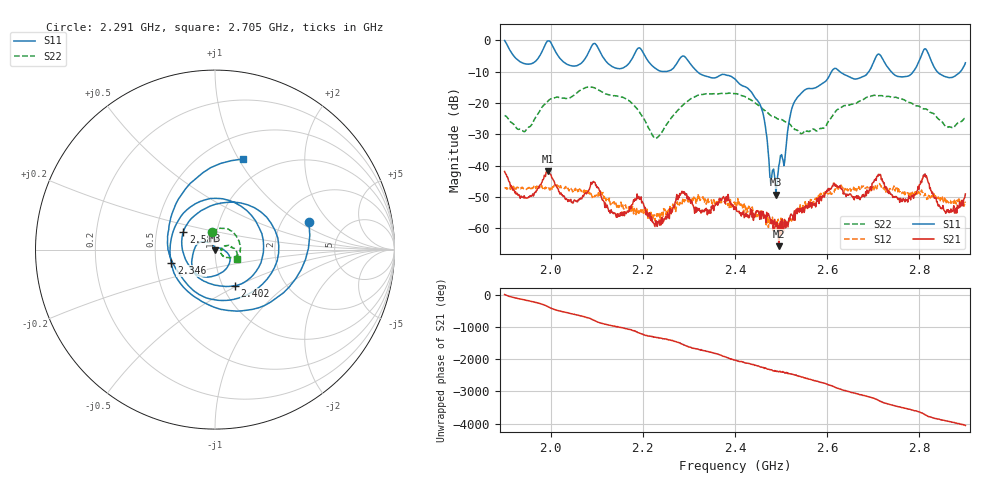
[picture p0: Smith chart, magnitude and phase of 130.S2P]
! C:\Users\rflab\Downloads\Lab5_KD_ZW\130.S2P
! Touchstone 1.1 file saved by VNA.EXE V1.65 (www.ke5fx.com/gpib/readme.htm)
! 11/12/2024 12:12:04 AM
!  Source: HEWLETT PACKARD,8753D,0,6.14
!  Min freq: 1.900000E+009 Hz
!  Max freq: 2.900000E+009 Hz
!  Points: 801
!  Params: S11 S21 S12 S22
# GHZ S RI R 50
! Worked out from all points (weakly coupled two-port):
!   801 points, 1.9 GHz to 2.9 GHz, reference 50 ohm
!   highest |S21| = -41.76 dB at 1.994 GHz (marker M1); lowest = -65.7 dB at 2.495 GHz (marker M2)
!   lowest |S11| = -49.2 dB at 2.489 GHz (marker M3), VSWR 1.01, Z = 49.9 - j0.337 ohm
!   |S11| at or under -10 dB: 2.318 GHz to 2.61 GHz (291.3 MHz wide, 11.8 % of centre); 2.627 GHz to 2.69 GHz (63.26 MHz wide, 2.38 % of centre); 2.839 GHz to 2.889 GHz (50.63 MHz wide, 1.77 % of centre) (the widest 3 of 6)
!   |S22| runs from -31.3 to -14.9 dB; largest |S21 - S12| = 0.0042
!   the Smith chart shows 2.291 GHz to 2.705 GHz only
!   S11 on the Smith chart (normalised r, x): 2.291 GHz: 2.81, +1.21; 2.346 GHz: 0.60, -0.10; 2.402 GHz: 1.14, -0.48; 2.589 GHz: 0.69, +0.14; 2.705 GHz: 0.75, +1.05
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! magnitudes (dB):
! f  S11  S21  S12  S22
! 1.9 GHz  -0.1  -41.8  -47.1  -24.0
! 1.949 GHz  -7.6  -50.3  -47.4  -28.2
! 1.994 GHz  -0.2  -41.8  -47.1  -19.4
! 2.067 GHz  -7.2  -50.6  -48.1  -15.7
! 2.092 GHz  -1.1  -45.0  -50.0  -15.1
! 2.145 GHz  -9.0  -56.4  -52.4  -17.8
! 2.192 GHz  -2.4  -50.7  -54.3  -22.9
! 2.234 GHz  -9.6  -58.1  -55.4  -30.7
! 2.291 GHz  -5.3  -49.3  -50.9  -20.1
! 2.346 GHz  -11.9  -54.9  -51.4  -17.1
! 2.4 GHz  -12.4  -53.2  -52.3  -17.0
! 2.402 GHz  -12.8  -53.2  -52.8  -17.0
! 2.455 GHz  -20.7  -54.5  -55.5  -21.2
! 2.489 GHz  -49.2  -59.4  -59.3  -24.7
! 2.495 GHz  -40.0  -65.7  -58.5  -25.2
! 2.527 GHz  -20.1  -55.9  -57.5  -28.3
! 2.567 GHz  -15.4  -51.9  -51.1  -28.4
! 2.589 GHz  -13.9  -49.7  -48.8  -28.1
! 2.705 GHz  -5.5  -44.2  -46.2  -17.6
! 2.734 GHz  -9.1  -48.9  -48.0  -17.9
! 2.811 GHz  -2.8  -42.8  -49.4  -21.9
! 2.9 GHz  -7.2  -49.0  -51.8  -24.7
